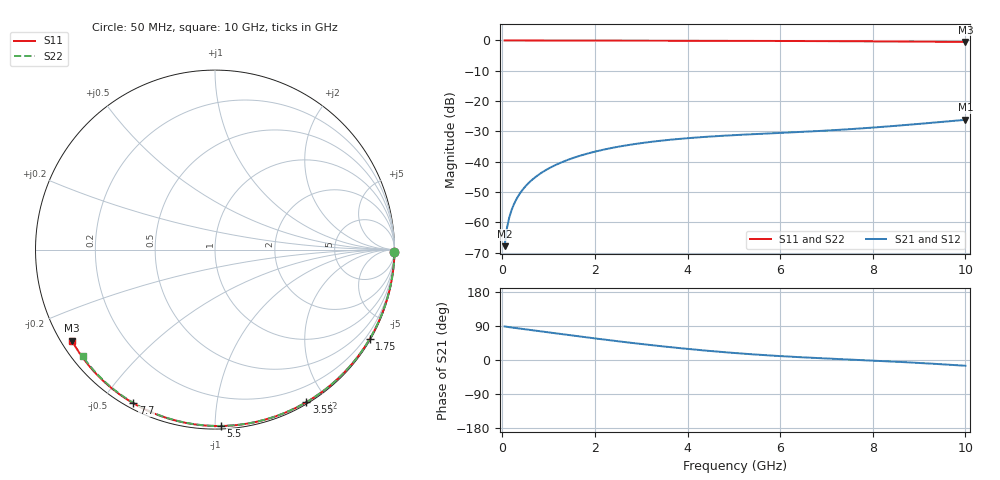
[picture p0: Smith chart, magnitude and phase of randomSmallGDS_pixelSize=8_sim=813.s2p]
! freq	dB(S11)	phase(S11)	dB(S12)	phase(S12)
!  dB(S21)	phase(S21)	dB(S22)	phase(S22)
!S-par simulation data
#  GHz  S  DB  R 50
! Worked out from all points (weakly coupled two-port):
!   200 points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, 50 MHz to 10 GHz, reference 50 ohm
!   highest |S21| = -26.19 dB at 10 GHz (marker M1); lowest = -67.9 dB at 50 MHz (marker M2)
!   lowest |S11| = -0.5 dB at 10 GHz (marker M3), VSWR 35.30, Z = 1.54 - j14.5 ohm
!   |S11| at or under -10 dB: nowhere
!   |S22| runs from -0.5 to 0.0 dB; largest |S21 - S12| = 0
!   S11 on the Smith chart (normalised r, x): 50 MHz: open; 1.75 GHz: 0.03, -3.74; 3.55 GHz: 0.02, -1.76; 5.5 GHz: 0.02, -1.03; 7.7 GHz: 0.02, -0.60; 10 GHz: 0.03, -0.29
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0.05  -0.00 -0.9  -67.87 88.7  -67.87 88.7  -0.00 -0.8
0.1  -0.00 -1.7  -61.90 87.6  -61.90 87.6  -0.00 -1.7
0.15  -0.00 -2.6  -58.43 86.6  -58.43 86.6  -0.00 -2.5
0.2  -0.00 -3.5  -55.97 85.7  -55.97 85.7  -0.00 -3.3
0.25  -0.00 -4.4  -54.06 84.9  -54.06 84.9  -0.00 -4.2
0.35  -0.00 -6.1  -51.19 83.4  -51.19 83.4  -0.00 -5.8
0.5  -0.01 -8.7  -48.13 81.0  -48.13 81.0  -0.01 -8.3
0.7  -0.01 -12.1  -45.26 77.8  -45.26 77.8  -0.01 -11.6
1  -0.02 -17.3  -42.25 72.9  -42.25 72.9  -0.02 -16.5
1.35  -0.03 -23.2  -39.77 67.3  -39.77 67.3  -0.03 -22.2
1.75  -0.04 -29.9  -37.71 60.9  -37.71 60.9  -0.04 -28.7
2.5  -0.06 -42.3  -35.07 49.4  -35.07 49.4  -0.05 -40.5
3.4  -0.08 -56.7  -33.12 36.8  -33.12 36.8  -0.07 -54.4
3.55  -0.08 -59.1  -32.87 34.9  -32.87 34.9  -0.08 -56.6
4.3  -0.10 -70.6  -31.90 25.8  -31.90 25.8  -0.10 -67.7
5.05  -0.13 -81.6  -31.20 18.1  -31.20 18.1  -0.12 -78.3
5.5  -0.14 -88.1  -30.86 14.2  -30.86 14.2  -0.14 -84.5
6.7  -0.20 -104.7  -29.98 5.7  -29.98 5.7  -0.19 -100.4
7.7  -0.27 -118.0  -29.07 0.1  -29.07 0.1  -0.26 -113.1
8.35  -0.32 -126.4  -28.34 -3.6  -28.34 -3.6  -0.31 -121.1
9.2  -0.40 -137.3  -27.26 -9.1  -27.26 -9.1  -0.38 -131.5
10  -0.49 -147.5  -26.19 -15.2  -26.19 -15.2  -0.47 -141.1
